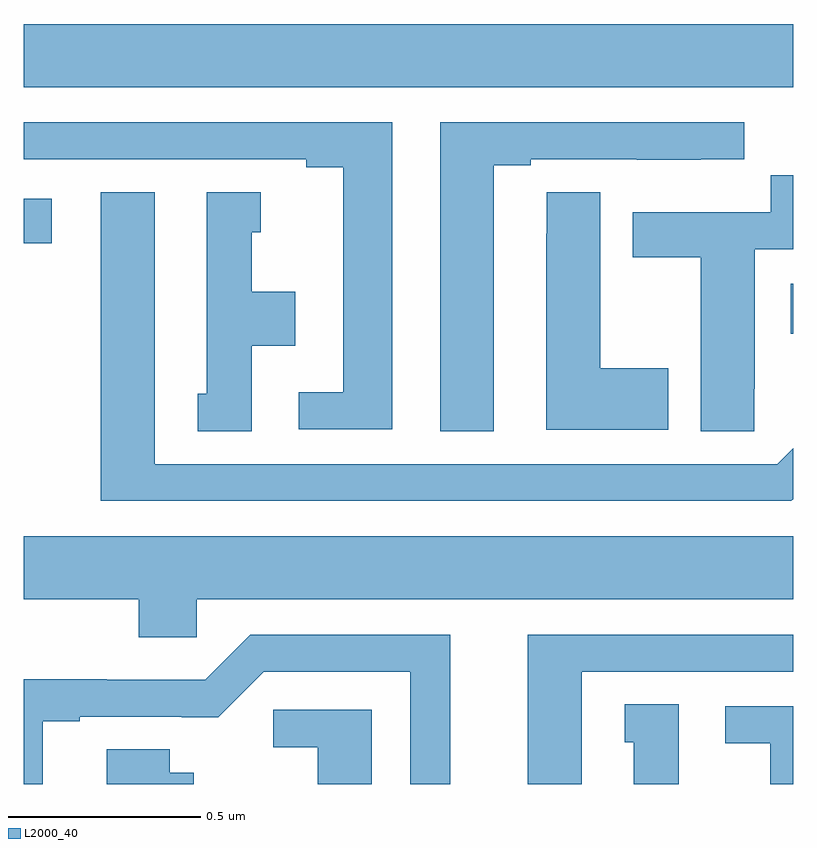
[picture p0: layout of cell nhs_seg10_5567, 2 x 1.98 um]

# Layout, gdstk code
import gdstk
lib = gdstk.Library(unit=1e-6, precision=1e-09)
def R(c, l, rs):  # rectangles x0, y0, x1, y1
    for r in rs: c.add(gdstk.rectangle(r[:2], r[2:], *l))
def P(c, l, *ps):  # polygons
    for p in ps: c.add(gdstk.Polygon(p, *l))
L2000_40 = (2000, 40)

nhs_seg10_5567 = lib.new_cell('nhs_seg10_5567')
R(nhs_seg10_5567, L2000_40, [(181.994,1303.671,182,1303.801), (180,1303.906,180.073,1304.022), (180,1304.312,182,1304.476)])
P(nhs_seg10_5567, L2000_40, [(180.958,1304.22),(180,1304.22),(180,1304.124),(180.734,1304.124),(180.734,1304.104),(180.83,1304.104),(180.83,1303.518),(180.714,1303.518),(180.714,1303.422),(180.958,1303.422)],
  [(181.222,1304.109),(181.318,1304.109),(181.318,1304.124),(181.594,1304.124),(181.594,1304.123),(181.76,1304.123),(181.76,1304.124),(181.873,1304.124),(181.873,1304.22),(181.082,1304.22),(181.082,1303.417),(181.222,1303.417)],
  [(181.899,1303.528),(181.9,1303.528),(181.9,1303.89),(182,1303.89),(182,1304.083),(181.942,1304.083),(181.942,1303.986),(181.583,1303.986),(181.583,1303.87),(181.76,1303.87),(181.76,1303.417),(181.899,1303.417)],
  [(181.675,1303.581),(181.498,1303.581),(181.498,1304.039),(181.359,1304.039),(181.359,1303.931),(181.358,1303.931),(181.358,1303.421),(181.675,1303.421)],
  [(182,1303.241),(182,1303.373),(181.959,1303.332),(180.34,1303.332),(180.34,1304.038),(180.2,1304.038),(180.2,1303.236),(181.995,1303.236)],
  [(180.592,1303.64),(180.706,1303.64),(180.706,1303.78),(180.592,1303.78),(180.592,1303.935),(180.616,1303.935),(180.616,1304.038),(180.476,1304.038),(180.476,1303.515),(180.452,1303.515),(180.452,1303.417),(180.592,1303.417)],
  [(180.45,1302.98),(182,1302.98),(182,1303.144),(180,1303.144),(180,1302.98),(180.299,1302.98),(180.299,1302.882),(180.45,1302.882)],
  [(180.049,1302.663),(180.145,1302.663),(180.145,1302.675),(180.41,1302.675),(180.41,1302.674),(180.506,1302.674),(180.624,1302.792),(181.004,1302.792),(181.004,1302.5),(181.108,1302.5),(181.108,1302.888),(180.588,1302.888),(180.471,1302.771),(180.215,1302.771),(180.215,1302.773),(180,1302.773),(180,1302.5),(180.049,1302.5)],
  [(181.45,1302.792),(182,1302.792),(182,1302.888),(181.31,1302.888),(181.31,1302.5),(181.45,1302.5)],
  [(181.702,1302.707),(181.562,1302.707),(181.562,1302.609),(181.586,1302.609),(181.586,1302.5),(181.702,1302.5)],
  [(182,1302.702),(181.824,1302.702),(181.824,1302.606),(181.94,1302.606),(181.94,1302.5),(182,1302.5)],
  [(180.904,1302.693),(180.648,1302.693),(180.648,1302.596),(180.764,1302.596),(180.764,1302.5),(180.904,1302.5)],
  [(180.442,1302.529),(180.379,1302.529),(180.379,1302.59),(180.215,1302.59),(180.215,1302.5),(180.442,1302.5)])

lib.write_gds('nhs_seg10_5567.gds')
